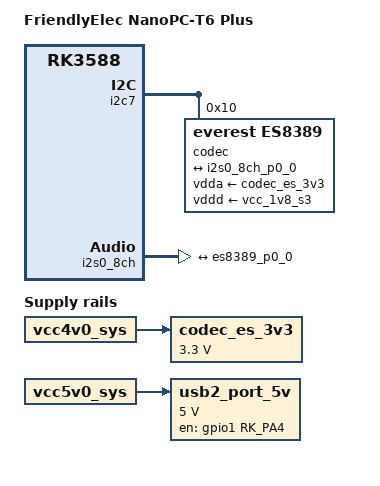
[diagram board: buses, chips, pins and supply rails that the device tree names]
// SPDX-License-Identifier: (GPL-2.0+ OR MIT)
/*
 * Copyright (c) 2021 Rockchip Electronics Co., Ltd.
 * Copyright (c) 2023 Thomas McKahan
 * Copyright (c) 2024 Linaro Ltd.
 */

/dts-v1/;

#include "rk3588-nanopc-t6.dtsi"

/ {
	model = "FriendlyElec NanoPC-T6 Plus";
	compatible = "friendlyarm,nanopc-t6-plus", "rockchip,rk3588";

	codec_es_3v3: regulator-codec-es-3v3 {
		compatible = "regulator-fixed";
		regulator-min-microvolt = <3300000>;
		regulator-max-microvolt = <3300000>;
		regulator-name = "codec_es_3v3";
		vin-supply = <&vcc4v0_sys>;
	};

	usb2_port_5v: regulator-usb2-port-5v {
		compatible = "regulator-fixed";
		enable-active-high;
		gpio = <&gpio1 RK_PA4 GPIO_ACTIVE_HIGH>;
		pinctrl-0 = <&usb20_host_pwren_h_pin>;
		pinctrl-names = "default";
		regulator-min-microvolt = <5000000>;
		regulator-max-microvolt = <5000000>;
		regulator-name = "usb2_port_5v";
		vin-supply = <&vcc5v0_sys>;
	};
};

&analog_sound {
	compatible = "audio-graph-card";
	hp-det-gpios = <&gpio1 RK_PC4 GPIO_ACTIVE_LOW>;
	label = "rk3588-es8389";

	dais = <&i2s0_8ch_p0>;
	routing = "Headphones", "HPOL",
		  "Headphones", "HPOR",
		  "INPUT1", "Microphones Connector",
		  "INPUT2", "Microphones Connector";
	widgets = "Headphone", "Headphones",
		  "Microphone", "Microphones Connector";
};

&i2c7 {
	codec@10 {
		compatible = "everest,es8389";
		reg = <0x10>;
		assigned-clocks = <&cru I2S0_8CH_MCLKOUT_TO_IO>;
		assigned-clock-rates = <12288000>;
		clocks = <&cru I2S0_8CH_MCLKOUT_TO_IO>;
		clock-names = "mclk";
		#sound-dai-cells = <0>;
		vdda-supply = <&codec_es_3v3>;
		vddd-supply = <&vcc_1v8_s3>;

		port {
			es8389_p0_0: endpoint {
				remote-endpoint = <&i2s0_8ch_p0_0>;
			};
		};
	};
};

&i2s0_8ch {
	i2s0_8ch_p0: port {
		i2s0_8ch_p0_0: endpoint {
			dai-format = "i2s";
			mclk-fs = <256>;
			remote-endpoint = <&es8389_p0_0>;
		};
	};
};

&pinctrl {
	usb {
		usb20_host_pwren_h_pin: usb20-host-pwren-h-pin {
			rockchip,pins = <1 RK_PA4 RK_FUNC_GPIO &pcfg_pull_none>;
		};
	};
};

&u2phy2_host {
	phy-supply = <&usb2_port_5v>;
};
